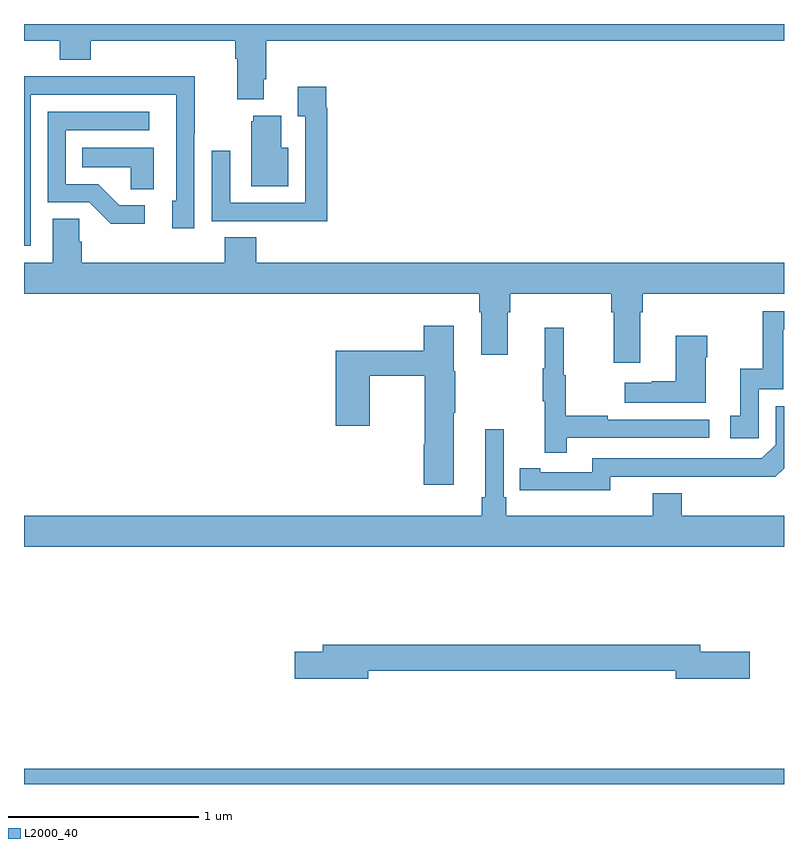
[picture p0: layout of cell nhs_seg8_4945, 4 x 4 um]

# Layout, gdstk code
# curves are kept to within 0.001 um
import gdstk
lib = gdstk.Library(unit=1e-6, precision=1e-09)
def R(c, l, rs):  # rectangles x0, y0, x1, y1
    for r in rs: c.add(gdstk.rectangle(r[:2], r[2:], *l))
def P(c, l, *ps):  # polygons
    for p in ps: c.add(gdstk.Polygon(p, *l))
L2000_40 = (2000, 40)

nhs_seg8_4945 = lib.new_cell('nhs_seg8_4945')
R(nhs_seg8_4945, L2000_40, [(409,1133.9,413,1133.98)])
P(nhs_seg8_4945, L2000_40, [(410.263,1137.61),(410.276,1137.61),(410.276,1137.812),(413,1137.812),(413,1137.9),(409,1137.9),(409,1137.812),(409.187,1137.812),(409.187,1137.713),(409.352,1137.713),(409.352,1137.812),(410.111,1137.812),(410.111,1137.716),(410.123,1137.716),(410.123,1137.503),(410.263,1137.503)],
  [(409.035,1137.528),(409.8,1137.528),(409.8,1136.97),(409.781,1136.97),(409.781,1136.826),(409.896,1136.826),(409.896,1137.319),(409.899,1137.319),(409.899,1137.626),(409.435,1137.626),(409.435,1137.624),(409,1137.624),(409,1136.733),(409.035,1136.733)],
  [(410.597,1137.458),(410.59,1137.458),(410.59,1137.571),(410.441,1137.571),(410.441,1137.415),(410.481,1137.415),(410.481,1136.958),(410.085,1136.958),(410.085,1137.232),(409.989,1137.232),(409.989,1136.862),(410.305,1136.862),(410.305,1136.861),(410.597,1136.861)],
  [(409.636,1136.946),(409.501,1136.946),(409.39,1137.057),(409.221,1137.057),(409.221,1137.342),(409.66,1137.342),(409.66,1137.438),(409.125,1137.438),(409.125,1136.961),(409.344,1136.961),(409.457,1136.849),(409.636,1136.849)],
  [(410.392,1137.25),(410.353,1137.25),(410.353,1137.418),(410.207,1137.418),(410.207,1137.387),(410.195,1137.387),(410.195,1137.047),(410.392,1137.047)],
  [(409.684,1137.25),(409.306,1137.25),(409.306,1137.146),(409.563,1137.146),(409.563,1137.031),(409.684,1137.031)],
  [(412.243,1136.384),(412.256,1136.384),(412.256,1136.48),(413,1136.48),(413,1136.644),(410.222,1136.644),(410.222,1136.777),(410.057,1136.777),(410.057,1136.644),(409.304,1136.644),(409.304,1136.753),(409.29,1136.753),(409.29,1136.876),(409.151,1136.876),(409.151,1136.644),(409,1136.644),(409,1136.48),(411.395,1136.48),(411.395,1136.384),(411.407,1136.384),(411.407,1136.16),(411.547,1136.16),(411.547,1136.384),(411.56,1136.384),(411.56,1136.48),(412.091,1136.48),(412.091,1136.384),(412.103,1136.384),(412.103,1136.118),(412.243,1136.118)],
  [(412.866,1135.977),(412.995,1135.977),(412.995,1136.292),(413,1136.292),(413,1136.388),(412.887,1136.388),(412.887,1136.086),(412.769,1136.086),(412.769,1135.839),(412.716,1135.839),(412.716,1135.719),(412.866,1135.719)],
  [(411.262,1135.855),(411.27,1135.855),(411.27,1136.073),(411.262,1136.073),(411.262,1136.311),(411.104,1136.311),(411.104,1136.179),(410.642,1136.179),(410.642,1135.785),(410.82,1135.785),(410.82,1136.05),(411.109,1136.05),(411.109,1135.688),(411.104,1135.688),(411.104,1135.476),(411.262,1135.476)],
  [(411.857,1135.722),(412.606,1135.722),(412.606,1135.818),(412.073,1135.818),(412.073,1135.838),(411.85,1135.838),(411.85,1136.052),(411.842,1136.052),(411.842,1136.302),(411.74,1136.302),(411.74,1136.089),(411.729,1136.089),(411.729,1135.915),(411.74,1135.915),(411.74,1135.644),(411.857,1135.644)],
  [(412.588,1136.147),(412.596,1136.147),(412.596,1136.26),(412.43,1136.26),(412.43,1136.021),(412.304,1136.021),(412.304,1136.011),(412.161,1136.011),(412.161,1135.907),(412.588,1135.907)],
  [(412.086,1135.518),(412.954,1135.517),(413,1135.563),(413,1135.887),(412.956,1135.887),(412.956,1135.686),(412.884,1135.614),(411.99,1135.614),(411.99,1135.542),(411.718,1135.542),(411.718,1135.562),(411.61,1135.562),(411.61,1135.446),(412.086,1135.445)],
  [(413,1135.312),(412.463,1135.312),(412.463,1135.429),(412.31,1135.429),(412.31,1135.312),(411.539,1135.312),(411.539,1135.408),(411.525,1135.408),(411.525,1135.768),(411.428,1135.768),(411.428,1135.408),(411.409,1135.408),(411.409,1135.312),(409,1135.312),(409,1135.148),(413,1135.148)],
  [(410.812,1134.496),(412.43,1134.496),(412.43,1134.454),(412.819,1134.454),(412.819,1134.596),(412.558,1134.596),(412.558,1134.632),(410.573,1134.632),(410.573,1134.596),(410.424,1134.596),(410.424,1134.454),(410.812,1134.454)])

lib.write_gds('nhs_seg8_4945.gds')
